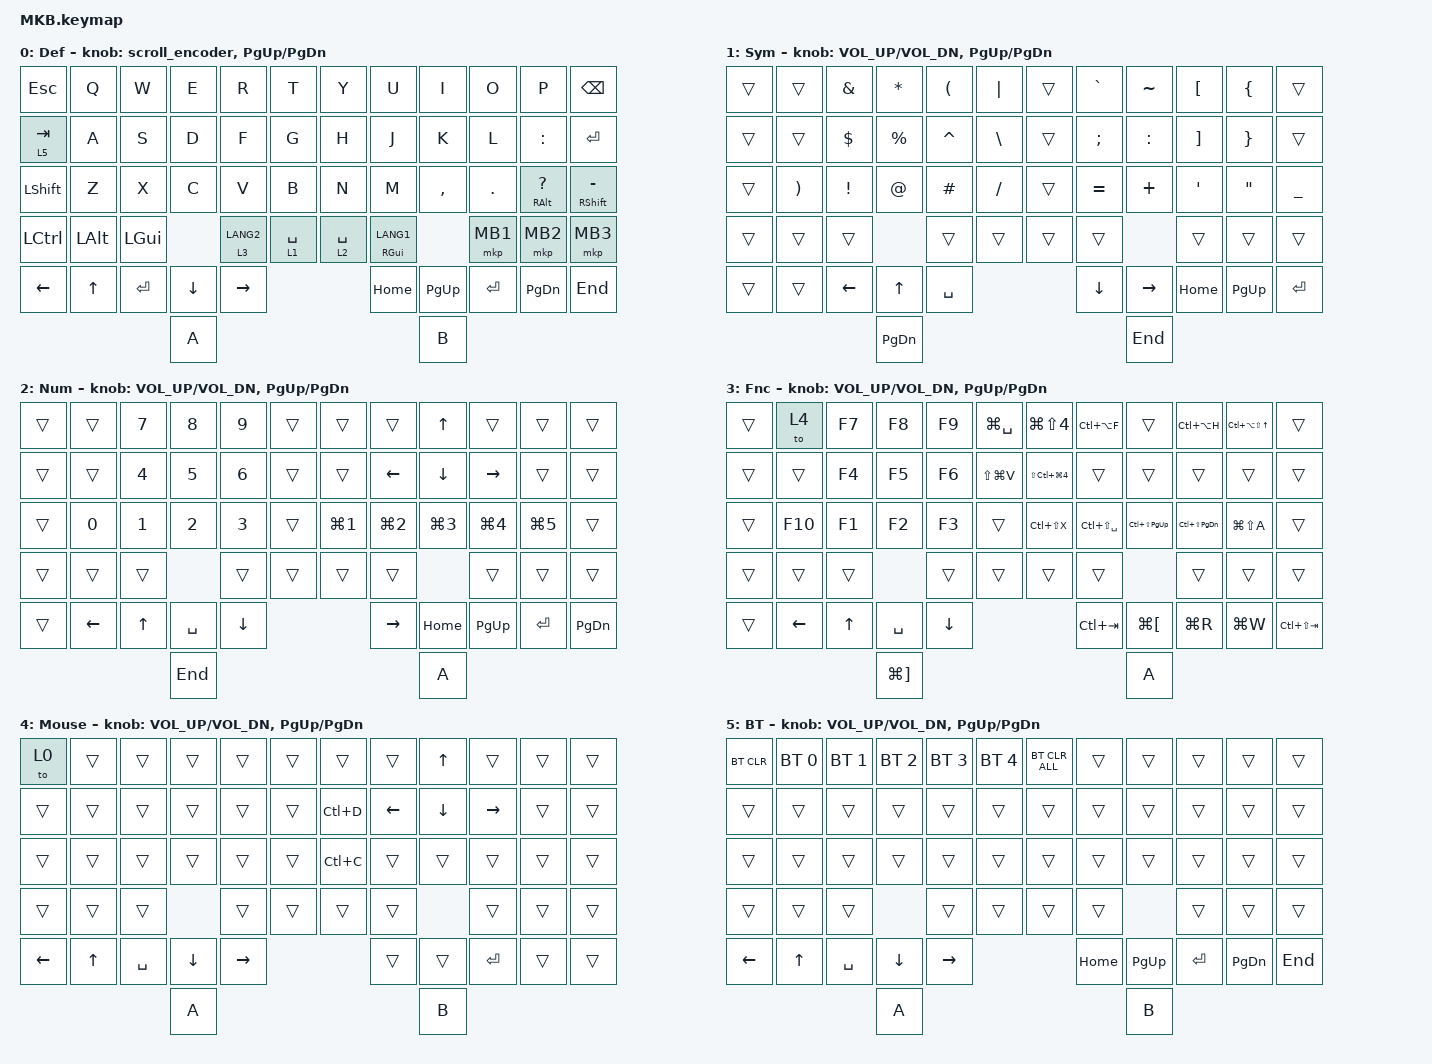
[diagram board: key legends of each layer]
// #include <layout_shift.dtsi>

#include <layout_shift_kp_override.dtsi>
#include <behaviors.dtsi>
#include <dt-bindings/zmk/bt.h>
#include <dt-bindings/zmk/keys.h>
#include <dt-bindings/zmk/pointing.h>

#define DEF 0
#define FUNC 1
#define NUM 2
#define MOUSE 3
#define SCROLL 4
#define BT 5

&mt {
    flavor = "balanced";
    tapping-term-ms = <280>;
    quick-tap-ms = <175>;
    require-prior-idle-ms = <150>;
};

/ {
    behaviors {
        scroll_encoder: scroll_encoder {
            compatible = "zmk,behavior-sensor-rotate";
            #sensor-binding-cells = <0>;
            bindings = <&msc MOVE_Y(64)>, <&msc MOVE_Y(-64)>;

            // One 16ms &msc tick produces floor(64 * 16 / 1000) = 1 event.
            // Release before the second tick to avoid delay and queue buildup.

            tap-ms = <24>;
        };
    };

    combos {
        compatible = "zmk,combos";

        combo_qw_esc {
            timeout-ms = <50>;
            key-positions = <1 2>;
            layers = <DEF>;
            bindings = <&kp ESC>;
        };

        combo_jk_lang1 {
            timeout-ms = <50>;
            key-positions = <19 20>;
            layers = <DEF>;
            bindings = <&kp LANG1>;
        };

        combo_as_caps_word {
            timeout-ms = <50>;
            key-positions = <13 14>;
            layers = <DEF>;
            bindings = <&caps_word>;
        };

        combo_df_lang2 {
            timeout-ms = <50>;
            key-positions = <15 16>;
            layers = <DEF>;
            bindings = <&kp LANG2>;
        };
    };

    keymap {
        compatible = "zmk,keymap";

        default_layer {
            label = "Def";
            bindings = <
&kp ESC    &kp Q     &kp W      &kp E     &kp R        &kp T            &kp Y        &kp U                &kp I      &kp O      &kp P           &kp BKSP
&lt 5 TAB  &kp A     &kp S      &kp D     &kp F        &kp G            &kp H        &kp J                &kp K      &kp L      &kp COLON       &kp ENTER
&kp LSHFT  &kp Z     &kp X      &kp C     &kp V        &kp B            &kp N        &kp M                &kp COMMA  &kp DOT    &mt RALT QMARK  &mt RIGHT_SHIFT MINUS
&kp LCTRL  &kp LALT  &kp LGUI             &lt 3 LANG2  &lt 1 SPACE      &lt 2 SPACE  &mt RIGHT_GUI LANG1             &mkp MB1   &mkp MB2        &mkp MB3
&kp LEFT   &kp UP    &kp ENTER  &kp DOWN  &kp RIGHT                                  &kp HOME             &kp PG_UP  &kp ENTER  &kp PG_DN       &kp END
                                &kp A                                                                     &kp B
            >;

            sensor-bindings = <&scroll_encoder &inc_dec_kp PG_UP PG_DN>;
        };

        symbol_layer {
            label = "Sym";
            bindings = <
&trans  &trans                 &kp AMPERSAND    &kp ASTRK    &kp LEFT_PARENTHESIS  &kp PIPE       &trans  &kp GRAVE  &kp TILDE  &kp LEFT_BRACKET   &kp LEFT_BRACE     &trans
&trans  &trans                 &kp DLLR         &kp PERCENT  &kp CARET             &kp BSLH       &trans  &kp SEMI   &kp COLON  &kp RIGHT_BRACKET  &kp RIGHT_BRACE    &trans
&trans  &kp RIGHT_PARENTHESIS  &kp EXCLAMATION  &kp AT       &kp HASH              &kp SLASH      &trans  &kp EQUAL  &kp PLUS   &kp SINGLE_QUOTE   &kp DOUBLE_QUOTES  &kp UNDER
&trans  &trans                 &trans                        &trans                &trans         &trans  &trans                &trans             &trans             &trans
&trans  &trans                 &kp LEFT         &kp UP       &kp SPACE                                    &kp DOWN   &kp RIGHT  &kp HOME           &kp PG_UP          &kp ENTER
                                                &kp PG_DN                                                            &kp END
            >;

            sensor-bindings = <&inc_dec_kp C_VOL_UP C_VOL_DN &inc_dec_kp PG_UP PG_DN>;
        };

        num_layer {
            label = "Num";
            bindings = <
&trans  &trans    &kp N7        &kp N8        &kp N9        &trans      &trans      &trans      &kp UP_ARROW  &trans      &trans      &trans
&trans  &trans    &kp NUMBER_4  &kp N5        &kp NUMBER_6  &trans      &trans      &kp LEFT    &kp DOWN      &kp RIGHT   &trans      &trans
&trans  &kp N0    &kp NUMBER_1  &kp NUMBER_2  &kp NUMBER_3  &trans      &kp LG(N1)  &kp LG(N2)  &kp LG(N3)    &kp LG(N4)  &kp LG(N5)  &trans
&trans  &trans    &trans                      &trans        &trans      &trans      &trans                    &trans      &trans      &trans
&trans  &kp LEFT  &kp UP        &kp SPACE     &kp DOWN                              &kp RIGHT   &kp HOME      &kp PG_UP   &kp ENTER   &kp PG_DN
                                &kp END                                                         &kp A
            >;

            sensor-bindings = <&inc_dec_kp C_VOL_UP C_VOL_DN &inc_dec_kp PG_UP PG_DN>;
        };

        function_layer {
            label = "Fnc";
            bindings = <
&trans  &to 4     &kp F7  &kp F8                 &kp F9    &kp LG(SPACE)      &kp LG(LS(NUMBER_4))      &kp LC(LA(F))      &trans                &kp LC(LA(H))      &kp LC(LA(LS(UP_ARROW)))  &trans
&trans  &trans    &kp F4  &kp F5                 &kp F6    &kp LS(LG(V))      &kp LS(LC(LG(NUMBER_4)))  &trans             &trans                &trans             &trans                    &trans
&trans  &kp F10   &kp F1  &kp F2                 &kp F3    &trans             &kp LC(LS(X))             &kp LC(LS(SPACE))  &kp LC(LS(PG_UP))     &kp LC(LS(PG_DN))  &kp LG(LS(A))             &trans
&trans  &trans    &trans                         &trans    &trans             &trans                    &trans                                   &trans             &trans                    &trans
&trans  &kp LEFT  &kp UP  &kp SPACE              &kp DOWN                                               &kp LC(TAB)        &kp LG(LEFT_BRACKET)  &kp LG(R)          &kp LG(W)                 &kp LC(LS(TAB))
                          &kp LG(RIGHT_BRACKET)                                                                            &kp A
            >;

            sensor-bindings = <&inc_dec_kp C_VOL_UP C_VOL_DN &inc_dec_kp PG_UP PG_DN>;
        };

        mouse_layer {
            label = "Mouse";
            bindings = <
&to 0     &trans  &trans     &trans    &trans     &trans      &trans     &trans    &kp UP    &trans     &trans  &trans
&trans    &trans  &trans     &trans    &trans     &trans      &kp LC(D)  &kp LEFT  &kp DOWN  &kp RIGHT  &trans  &trans
&trans    &trans  &trans     &trans    &trans     &trans      &kp LC(C)  &trans    &trans    &trans     &trans  &trans
&trans    &trans  &trans               &trans     &trans      &trans     &trans              &trans     &trans  &trans
&kp LEFT  &kp UP  &kp SPACE  &kp DOWN  &kp RIGHT                         &trans    &trans    &kp ENTER  &trans  &trans
                             &kp A                                                 &kp B
            >;

            sensor-bindings = <&inc_dec_kp C_VOL_UP C_VOL_DN &inc_dec_kp PG_UP PG_DN>;
        };

        bt_layer {
            label = "BT";
            bindings = <
&bt BT_CLR  &bt BT_SEL 0  &bt BT_SEL 1  &bt BT_SEL 2  &bt BT_SEL 3  &bt BT_SEL 4      &bt BT_CLR_ALL  &trans    &trans     &trans     &trans     &trans
&trans      &trans        &trans        &trans        &trans        &trans            &trans          &trans    &trans     &trans     &trans     &trans
&trans      &trans        &trans        &trans        &trans        &trans            &trans          &trans    &trans     &trans     &trans     &trans
&trans      &trans        &trans                      &trans        &trans            &trans          &trans               &trans     &trans     &trans
&kp LEFT    &kp UP        &kp SPACE     &kp DOWN      &kp RIGHT                                       &kp HOME  &kp PG_UP  &kp ENTER  &kp PG_DN  &kp END
                                        &kp A                                                                   &kp B
            >;

            sensor-bindings = <&inc_dec_kp C_VOL_UP C_VOL_DN &inc_dec_kp PG_UP PG_DN>;
        };
    };
};
